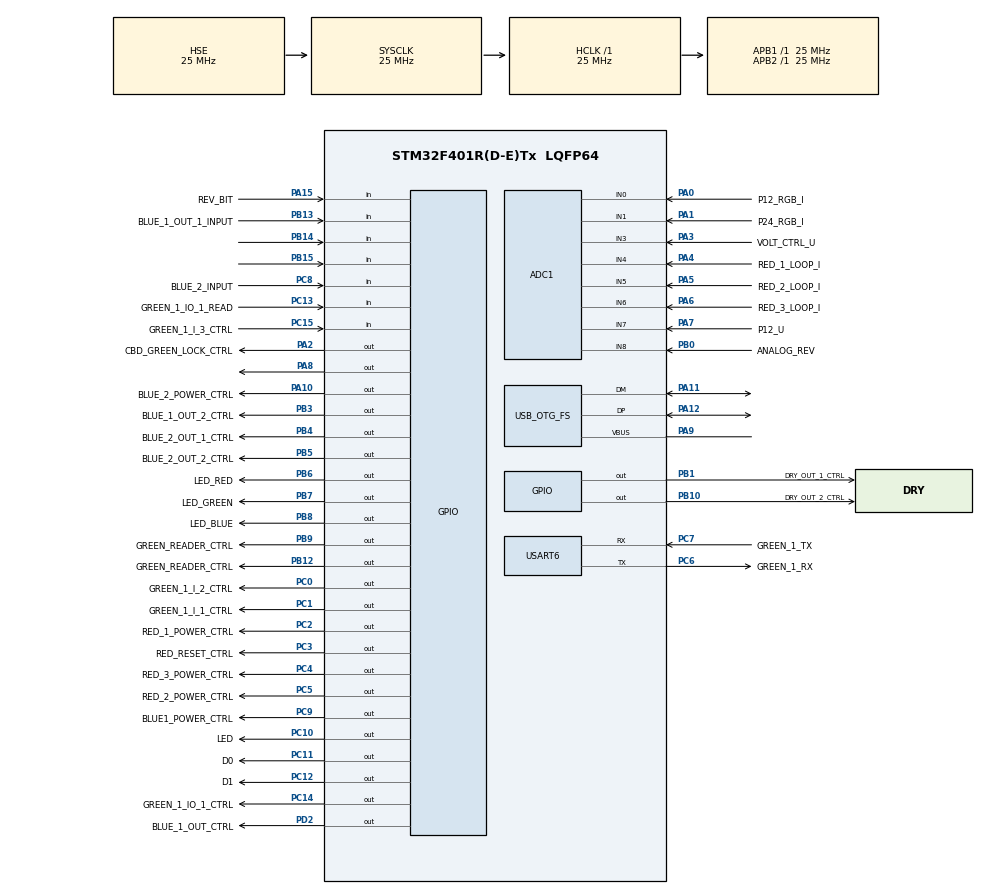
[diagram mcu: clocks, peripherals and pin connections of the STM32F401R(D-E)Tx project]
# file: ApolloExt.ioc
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ADC1.Channel-0\#ChannelRegularConversion=ADC_CHANNEL_0
ADC1.Channel-1\#ChannelRegularConversion=ADC_CHANNEL_1
ADC1.Channel-2\#ChannelRegularConversion=ADC_CHANNEL_3
ADC1.Channel-3\#ChannelRegularConversion=ADC_CHANNEL_4
ADC1.Channel-4\#ChannelRegularConversion=ADC_CHANNEL_5
ADC1.Channel-5\#ChannelRegularConversion=ADC_CHANNEL_6
ADC1.Channel-6\#ChannelRegularConversion=ADC_CHANNEL_7
ADC1.Channel-7\#ChannelRegularConversion=ADC_CHANNEL_8
ADC1.ClockPrescaler=ADC_CLOCK_SYNC_PCLK_DIV4
ADC1.ContinuousConvMode=DISABLE
ADC1.DMAContinuousRequests=ENABLE
ADC1.EOCSelection=ADC_EOC_SEQ_CONV
ADC1.NbrOfConversion=8
ADC1.NbrOfConversionFlag=1
ADC1.Rank-0\#ChannelRegularConversion=1
ADC1.Rank-1\#ChannelRegularConversion=2
ADC1.Rank-2\#ChannelRegularConversion=3
ADC1.Rank-3\#ChannelRegularConversion=4
ADC1.Rank-4\#ChannelRegularConversion=5
ADC1.Rank-5\#ChannelRegularConversion=6
ADC1.Rank-6\#ChannelRegularConversion=7
ADC1.Rank-7\#ChannelRegularConversion=8
ADC1.SamplingTime-0\#ChannelRegularConversion=ADC_SAMPLETIME_56CYCLES
ADC1.SamplingTime-1\#ChannelRegularConversion=ADC_SAMPLETIME_56CYCLES
ADC1.SamplingTime-2\#ChannelRegularConversion=ADC_SAMPLETIME_56CYCLES
ADC1.SamplingTime-3\#ChannelRegularConversion=ADC_SAMPLETIME_56CYCLES
ADC1.SamplingTime-4\#ChannelRegularConversion=ADC_SAMPLETIME_56CYCLES
ADC1.SamplingTime-5\#ChannelRegularConversion=ADC_SAMPLETIME_56CYCLES
ADC1.SamplingTime-6\#ChannelRegularConversion=ADC_SAMPLETIME_56CYCLES
ADC1.SamplingTime-7\#ChannelRegularConversion=ADC_SAMPLETIME_56CYCLES
ADC1.ScanConvMode=ENABLE
ADC1.master=1
Dma.ADC1.0.Direction=DMA_PERIPH_TO_MEMORY
Dma.ADC1.0.FIFOMode=DMA_FIFOMODE_DISABLE
Dma.ADC1.0.Instance=DMA2_Stream0
Dma.ADC1.0.MemDataAlignment=DMA_MDATAALIGN_HALFWORD
Dma.ADC1.0.MemInc=DMA_MINC_ENABLE
Dma.ADC1.0.Mode=DMA_CIRCULAR
Dma.ADC1.0.PeriphDataAlignment=DMA_PDATAALIGN_HALFWORD
Dma.ADC1.0.PeriphInc=DMA_PINC_DISABLE
Dma.ADC1.0.Priority=DMA_PRIORITY_LOW
Dma.Request0=ADC1
Mcu.Family=STM32F4
Mcu.Name=STM32F401R(D-E)Tx
Mcu.Package=LQFP64
NVIC.ADC_IRQn=true\:0\:0\:false\:false\:true\:true\:true\:true
NVIC.DMA2_Stream0_IRQn=true\:0\:0\:false\:false\:true\:false\:true\:true
NVIC.PriorityGroup=NVIC_PRIORITYGROUP_4
NVIC.TIM3_IRQn=true\:1\:0\:true\:false\:true\:true\:true\:true
NVIC.USART6_IRQn=true\:2\:0\:true\:false\:true\:true\:true\:true
PA0-WKUP.GPIO_Label=P12_RGB_I
PA0-WKUP.Signal=ADCx_IN0
PA1.GPIO_Label=P24_RGB_I
PA1.Signal=ADCx_IN1
PA10.GPIO_Label=BLUE_2_POWER_CTRL
PA10.Signal=GPIO_Output
PA11.Mode=Device_Only
PA11.Signal=USB_OTG_FS_DM
PA12.Mode=Device_Only
PA12.Signal=USB_OTG_FS_DP
PA13.Signal=SYS_JTMS-SWDIO
PA14.Signal=SYS_JTCK-SWCLK
PA15.GPIO_Label=REV_BIT
PA15.Signal=GPIO_Input
PA2.GPIO_Label=CBD_GREEN_LOCK_CTRL
PA2.Signal=GPIO_Output
PA3.GPIO_Label=VOLT_CTRL_U
PA3.Signal=ADCx_IN3
PA4.GPIO_Label=RED_1_LOOP_I
PA4.Signal=ADCx_IN4
PA5.GPIO_Label=RED_2_LOOP_I
PA5.Signal=ADCx_IN5
PA6.GPIO_Label=RED_3_LOOP_I
PA6.Signal=ADCx_IN6
PA7.GPIO_Label=P12_U
PA7.Signal=ADCx_IN7
PA8.Signal=GPIO_Output
PA9.Mode=Activate_VBUS
PA9.Signal=USB_OTG_FS_VBUS
PB0.GPIO_Label=ANALOG_REV
PB0.Signal=ADCx_IN8
PB1.GPIO_Label=DRY_OUT_1_CTRL
PB1.Signal=GPIO_Output
PB10.GPIO_Label=DRY_OUT_2_CTRL
PB10.Signal=GPIO_Output
PB12.GPIO_Label=GREEN_READER_CTRL
PB12.Signal=GPIO_Output
PB13.GPIO_Label=BLUE_1_OUT_1_INPUT
PB13.Signal=GPIO_Input
PB14.Signal=GPIO_Input
PB15.Signal=GPIO_Input
PB3.GPIO_Label=BLUE_1_OUT_2_CTRL
PB3.Signal=GPIO_Output
PB4.GPIO_Label=BLUE_2_OUT_1_CTRL
PB4.Signal=GPIO_Output
PB5.GPIO_Label=BLUE_2_OUT_2_CTRL
PB5.Signal=GPIO_Output
PB6.GPIO_Label=LED_RED
PB6.Signal=GPIO_Output
PB7.GPIO_Label=LED_GREEN
PB7.Signal=GPIO_Output
PB8.GPIO_Label=LED_BLUE
PB8.Signal=GPIO_Output
PB9.GPIO_Label=GREEN_READER_CTRL
PB9.Signal=GPIO_Output
PC0.GPIO_Label=GREEN_1_I_2_CTRL
PC0.Signal=GPIO_Output
PC1.GPIO_Label=GREEN_1_I_1_CTRL
PC1.Signal=GPIO_Output
PC10.GPIO_Label=LED
PC10.Signal=GPIO_Output
PC11.GPIO_Label=D0
PC11.Signal=GPIO_Output
PC12.GPIO_Label=D1
PC12.Signal=GPIO_Output
PC13-ANTI_TAMP.GPIO_Label=GREEN_1_IO_1_READ
PC13-ANTI_TAMP.Signal=GPIO_Input
PC14-OSC32_IN.GPIO_Label=GREEN_1_IO_1_CTRL
PC14-OSC32_IN.Signal=GPIO_Output
PC15-OSC32_OUT.GPIO_Label=GREEN_1_I_3_CTRL
PC15-OSC32_OUT.Signal=GPIO_Input
PC2.GPIO_Label=RED_1_POWER_CTRL
PC2.Signal=GPIO_Output
PC3.GPIO_Label=RED_RESET_CTRL
PC3.Signal=GPIO_Output
PC4.GPIO_Label=RED_3_POWER_CTRL
PC4.Signal=GPIO_Output
PC5.GPIO_Label=RED_2_POWER_CTRL
PC5.Signal=GPIO_Output
PC6.GPIO_Label=GREEN_1_RX
PC6.Mode=Asynchronous
PC6.Signal=USART6_TX
PC7.GPIO_Label=GREEN_1_TX
PC7.Mode=Asynchronous
PC7.Signal=USART6_RX
PC8.GPIO_Label=BLUE_2_INPUT
PC8.Signal=GPIO_Input
PC9.GPIO_Label=BLUE1_POWER_CTRL
PC9.Signal=GPIO_Output
PD2.GPIO_Label=BLUE_1_OUT_CTRL
PD2.Signal=GPIO_Output
PH0\ -\ OSC_IN.Mode=HSE-External-Oscillator
PH0\ -\ OSC_IN.Signal=RCC_OSC_IN
PH1\ -\ OSC_OUT.Mode=HSE-External-Oscillator
PH1\ -\ OSC_OUT.Signal=RCC_OSC_OUT
ProjectManager.HeapSize=0x200
ProjectManager.StackSize=0x400
ProjectManager.TargetToolchain=STM32CubeIDE
RCC.48MHZClocksFreq_Value=48000000
RCC.AHBFreq_Value=25000000
RCC.APB1Freq_Value=25000000
RCC.APB1TimFreq_Value=25000000
RCC.APB2Freq_Value=25000000
RCC.APB2TimFreq_Value=25000000
RCC.CortexFreq_Value=25000000
RCC.HCLKFreq_Value=25000000
RCC.HSE_VALUE=25000000
RCC.HSI_VALUE=16000000
RCC.LSE_VALUE=32768
RCC.PLLM=15
RCC.PLLN=144
RCC.PLLQ=5
RCC.SYSCLKFreq_VALUE=25000000
RCC.SYSCLKSource=RCC_SYSCLKSOURCE_HSE
RCC.VCOOutputFreq_Value=240000000
SH.ADCx_IN0.0=ADC1_IN0,IN0
SH.ADCx_IN1.0=ADC1_IN1,IN1
SH.ADCx_IN3.0=ADC1_IN3,IN3
SH.ADCx_IN4.0=ADC1_IN4,IN4
SH.ADCx_IN5.0=ADC1_IN5,IN5
SH.ADCx_IN6.0=ADC1_IN6,IN6
SH.ADCx_IN7.0=ADC1_IN7,IN7
SH.ADCx_IN8.0=ADC1_IN8,IN8
TIM3.AutoReloadPreload=TIM_AUTORELOAD_PRELOAD_ENABLE
TIM3.Period=1000
TIM3.Prescaler=24999
USART6.VirtualMode=VM_ASYNC
USB_OTG_FS.VirtualMode=Device_Only
VP_TIM3_VS_ClockSourceINT.Mode=Internal
board=custom

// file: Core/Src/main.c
/* USER CODE BEGIN Header */
/**
  ******************************************************************************
  * @file           : main.c
  * @brief          : Main program body
  ******************************************************************************
  * @attention
  *
  * Copyright (c) 2023 STMicroelectronics.
  * All rights reserved.
  *
  * This software is licensed under terms that can be found in the LICENSE file
  * in the root directory of this software component.
  * If no LICENSE file comes with this software, it is provided AS-IS.
  *
  ******************************************************************************
  */
/* USER CODE END Header */
#include "main.h"

/* USER CODE BEGIN Includes */
#include "Red.h"
#include "Green.h"
#include "Blue.h"
/* USER CODE END Includes */

/* USER CODE BEGIN PTD */

#define ADC_CHANNELS_NO 6
#define ADC_ARG_FROM_5 5

/* USER CODE END PTD */

/* USER CODE BEGIN PD */
#define MAX_ADC_DATA 8
/* USER CODE END PD */

 ADC_HandleTypeDef hadc1;
DMA_HandleTypeDef hdma_adc1;

TIM_HandleTypeDef htim3;

UART_HandleTypeDef huart6;

PCD_HandleTypeDef hpcd_USB_OTG_FS;

/* USER CODE BEGIN PV */

global_varible_t global;
volatile uint8_t global_cnt = 0;
volatile uint8_t adc_mem = 0;

uint16_t ADC_Data_table[8];

/* USER CODE END PV */

void SystemClock_Config(void);
static void MX_GPIO_Init(void);
static void MX_ADC1_Init(void);
static void MX_USART6_UART_Init(void);
static void MX_DMA_Init(void);
static void MX_TIM3_Init(void);
static void MX_USB_OTG_FS_PCD_Init(void);
/* USER CODE BEGIN PFP */

void HAL_ADC_ConvCpltCallback(ADC_HandleTypeDef* hadc) {

}

/* USER CODE END PFP */

/* USER CODE BEGIN 0 */
void rgb_let_toggle()
{
	if(global_cnt  < TIME_MAX_STATES/3 )
	{
		LED_BLUE_GPIO_Port->ODR ^= LED_BLUE_Pin;
		LED_RED_GPIO_Port->ODR &= ~LED_RED_Pin;
		LED_GREEN_GPIO_Port->ODR &= ~LED_GREEN_Pin;

	}
	else if(global_cnt  < 2*TIME_MAX_STATES/3 )
	{
		LED_BLUE_GPIO_Port->ODR &= ~LED_BLUE_Pin;
		LED_RED_GPIO_Port->ODR ^= LED_RED_Pin;
		LED_GREEN_GPIO_Port->ODR &= ~LED_GREEN_Pin;
	}
	else if(global_cnt  > 2*TIME_MAX_STATES/3 )
	{
		LED_BLUE_GPIO_Port->ODR &= ~LED_BLUE_Pin;
		LED_RED_GPIO_Port->ODR &= ~LED_RED_Pin;
		LED_GREEN_GPIO_Port->ODR ^= LED_GREEN_Pin;
	}
}

void ADC_Enable(void)
{
	ADC1->CR2 |= ADC_CR2_ADON;

	uint32_t delay= 10000;
	while(delay--);
}

void ADC_start(void)
{
	ADC1->SR = 0;
	ADC1->CR2 |= ADC_CR2_SWSTART;
}

void DMA_ADC_init(void)
{
//	Enable clocks
	RCC->APB2ENR |= (1 << 8);  //Enable ADC1
	RCC->AHB1ENR |= (1 << 0);  //Enable GPIO

// Set prescaler

	ADC->CCR |= (1 << 16); //PLCK devide by 4

// Set scan mode
	ADC1->CR1 |= ADC_CR1_SCAN; // Enable scan mode
	ADC1->CR1 &= ~(1 << 24 ) ; //
	ADC1->CR1 &= ~(1 << 25 ) ; // Set resolution for 12bits

// Set Continues conversation EOC, and Data Aligment

	//ADC1->CR2 |= ADC_CR2_CONT;	// contiunes conversion mode
	ADC1->CR2 |= ADC_CR2_EOCS; //  EOC after each conversion
	ADC1->CR2 &= ~(1 << 11); // Data Aligment Right

//Scannig order
	ADC1->SQR3 = 0;
	ADC1->SQR2 = 0;
	ADC1->SQR3 |= (0 << 0); 	// channel 0 1st
	ADC1->SQR3 |= (1 << 5); 	// channel 1 2th
	ADC1->SQR3 |= (3 << 10); 	// channel 3 3th
	ADC1->SQR3 |= (4 << 15); 	// channel 4 4th
	ADC1->SQR3 |= (5 << 20); 	// channel 5 5th
	ADC1->SQR3 |= (6 << 25); 	// channel 6 6th
	ADC1->SQR2 |= (7 << 0); 	// channel 7 7th
	ADC1->SQR2 |= (8 << 5); 	// channel 8 8th

	// Sum = 7

//Set sapling time for channels
	ADC1->SMPR2 =0;
	ADC1->SMPR2 |= (4 << 0 );	//1
	ADC1->SMPR2 |= (4 << 3 ); 	//2
	ADC1->SMPR2 |= (4 << 6 );	//3
	ADC1->SMPR2 |= (4 << 9 );	//4
	ADC1->SMPR2 |= (4 << 12 );	//5
	ADC1->SMPR2 |= (4 << 15 );	//6
	ADC1->SMPR2 |= (4 << 18 );	//7
	ADC1->SMPR2 |= (4 << 21 );	//8

// Set the regular channels sequence lenth
	 ADC1->SQR1 |= (7 << 20); //7 channels for convertion

// Set the respective GPIO pins int teh analog mode
	 GPIOA->MODER |= (3 << (2*0) );	//0 - 1
	 GPIOA->MODER |= (3 << (2*1) );	//1 - 2
	 GPIOA->MODER |= (3 << (2*3) );	//3 - 3
	 GPIOA->MODER |= (3 << (2*4) );	//4 - 4
	 GPIOA->MODER |= (3 << (2*5) );	//5 - 5
	 GPIOA->MODER |= (3 << (2*6) );	//6 - 6
	 GPIOA->MODER |= (3 << (2*7) );	//7 - 7
	 GPIOB->MODER |= (3 << (2*0) );	//7 - 7

// Enable ADC for DMA

	 ADC1->CR2 |= ADC_CR2_DMA; // Enable DMA mode
	 ADC1->CR2 &= ~ADC_CR2_CONT; // Enable Contounes Request

	 ADC_Enable();

// Enable DMA Clock
	 RCC->AHB1ENR |= (1 << 22 ); // Enable RCC for DMA

// DMA channel 2 stream 0 configuration
	 DMA2_Stream0->CR &= ~DMA_SxCR_EN; // Disable DMA for configuration

// memory data size
	 DMA2_Stream0->CR &= ~(1 << 14);
	 DMA2_Stream0->CR |= (1 << 13); // half-word 16bit

// perith  data size
	 DMA2_Stream0->CR &= ~(1 << 12);
	 DMA2_Stream0->CR |= (1 << 11); // half-word 16bit

// memory increment mode
	 DMA2_Stream0->CR |= DMA_SxCR_MINC; // Enable memory increment mode

// perith increment mode
	 DMA2_Stream0->CR &= ~DMA_SxCR_PINC; // Disable peripherial increment mode

// Data transfer direction
	 DMA2_Stream0->CR &= ~(1 << 7); // Peripherial to memory
	 DMA2_Stream0->CR &= ~(1 << 6); // Peripherial to memory

// DMA flow control
	 DMA2_Stream0->CR &= ~DMA_SxCR_PFCTRL; // DMA flow control enable

//	Circular mode
	 DMA2_Stream0->CR |= DMA_SxCR_CIRC; // Circular mode enabled

// Channel set
	 DMA2_Stream0->CR &= ~(1 << 25);
	 DMA2_Stream0->CR &= ~(1 << 26);
	 DMA2_Stream0->CR &= ~(1 << 27);
//
	 DMA2_Stream0->CR &= ~(1 << 19);
	 DMA2_Stream0->CR &= ~(1 << 18);

// Number of data to transfer
	 DMA2_Stream0->NDTR = 8;
// Peripherial Address set
	 DMA2_Stream0->PAR =(uint32_t *) &ADC1->DR;

// Memory address set
	 DMA2_Stream0->M0AR =(uint32_t *) ADC_Data_table;

// Set interrupt
	 DMA2_Stream0->CR |= DMA_SxCR_TCIE;

	 HAL_NVIC_SetPriority(DMA2_Stream0_IRQn, 0, 0);
	 HAL_NVIC_EnableIRQ(DMA2_Stream0_IRQn);

// Enable DMA
	 DMA2_Stream0->CR |= DMA_SxCR_EN;

}

void adc_measure_handler(const uint8_t counter_value)
{
	static uint8_t temp_bit_mem;
	if(temp_bit_mem == counter_value) return;
	temp_bit_mem = counter_value;

	ADC_start();

}

/* USER CODE END 0 */

int main(void)
{

  /* MCU Configuration--------------------------------------------------------*/

  /* Reset of all peripherals, Initializes the Flash interface and the Systick. */
  HAL_Init();

  /* Configure the system clock */
  SystemClock_Config();

  /* Initialize all configured peripherals */
  MX_GPIO_Init();
  MX_ADC1_Init();
  MX_USART6_UART_Init();
  MX_DMA_Init();
  MX_TIM3_Init();
  MX_USB_OTG_FS_PCD_Init();
  /* USER CODE BEGIN 2 */
  DMA_ADC_init();

  //HAL_ADC_Start_DMA(&hadc1, (uint32_t*)ADC_Data_table, MAX_ADC_DATA);
 //
  /* USER CODE END 2 */

  /* Infinite loop */
  /* USER CODE BEGIN WHILE */

  //HAL_ADC_Start(&hadc1);
  while (1)
  {
	  adc_measure_handler(global_cnt);

    /* USER CODE END WHILE */

  }
}

void SystemClock_Config(void)
{
  RCC_OscInitTypeDef RCC_OscInitStruct = {0};
  RCC_ClkInitTypeDef RCC_ClkInitStruct = {0};

  /** Configure the main internal regulator output voltage
  */
  __HAL_RCC_PWR_CLK_ENABLE();
  __HAL_PWR_VOLTAGESCALING_CONFIG(PWR_REGULATOR_VOLTAGE_SCALE2);

  /** Initializes the RCC Oscillators according to the specified parameters
  * in the RCC_OscInitTypeDef structure.
  */
  RCC_OscInitStruct.OscillatorType = RCC_OSCILLATORTYPE_HSE;
  RCC_OscInitStruct.HSEState = RCC_HSE_ON;
  RCC_OscInitStruct.PLL.PLLState = RCC_PLL_ON;
  RCC_OscInitStruct.PLL.PLLSource = RCC_PLLSOURCE_HSE;
  RCC_OscInitStruct.PLL.PLLM = 15;
  RCC_OscInitStruct.PLL.PLLN = 144;
  RCC_OscInitStruct.PLL.PLLP = RCC_PLLP_DIV2;
  RCC_OscInitStruct.PLL.PLLQ = 5;
  if (HAL_RCC_OscConfig(&RCC_OscInitStruct) != HAL_OK)
  {
    Error_Handler();
  }

  /** Initializes the CPU, AHB and APB buses clocks
  */
  RCC_ClkInitStruct.ClockType = RCC_CLOCKTYPE_HCLK|RCC_CLOCKTYPE_SYSCLK
                              |RCC_CLOCKTYPE_PCLK1|RCC_CLOCKTYPE_PCLK2;
  RCC_ClkInitStruct.SYSCLKSource = RCC_SYSCLKSOURCE_HSE;
  RCC_ClkInitStruct.AHBCLKDivider = RCC_SYSCLK_DIV1;
  RCC_ClkInitStruct.APB1CLKDivider = RCC_HCLK_DIV1;
  RCC_ClkInitStruct.APB2CLKDivider = RCC_HCLK_DIV1;

  if (HAL_RCC_ClockConfig(&RCC_ClkInitStruct, FLASH_LATENCY_0) != HAL_OK)
  {
    Error_Handler();
  }
}

static void MX_ADC1_Init(void)
{

  ADC_ChannelConfTypeDef sConfig = {0};

  /** Configure the global features of the ADC (Clock, Resolution, Data Alignment and number of conversion)
  */
  hadc1.Instance = ADC1;
  hadc1.Init.ClockPrescaler = ADC_CLOCK_SYNC_PCLK_DIV4;
  hadc1.Init.Resolution = ADC_RESOLUTION_12B;
  hadc1.Init.ScanConvMode = ENABLE;
  hadc1.Init.ContinuousConvMode = DISABLE;
  hadc1.Init.DiscontinuousConvMode = DISABLE;
  hadc1.Init.ExternalTrigConvEdge = ADC_EXTERNALTRIGCONVEDGE_NONE;
  hadc1.Init.ExternalTrigConv = ADC_SOFTWARE_START;
  hadc1.Init.DataAlign = ADC_DATAALIGN_RIGHT;
  hadc1.Init.NbrOfConversion = 8;
  hadc1.Init.DMAContinuousRequests = ENABLE;
  hadc1.Init.EOCSelection = ADC_EOC_SEQ_CONV;
  if (HAL_ADC_Init(&hadc1) != HAL_OK)
  {
    Error_Handler();
  }

  /** Configure for the selected ADC regular channel its corresponding rank in the sequencer and its sample time.
  */
  sConfig.Channel = ADC_CHANNEL_0;
  sConfig.Rank = 1;
  sConfig.SamplingTime = ADC_SAMPLETIME_56CYCLES;
  if (HAL_ADC_ConfigChannel(&hadc1, &sConfig) != HAL_OK)
  {
    Error_Handler();
  }

  /** Configure for the selected ADC regular channel its corresponding rank in the sequencer and its sample time.
  */
  sConfig.Channel = ADC_CHANNEL_1;
  sConfig.Rank = 2;
  if (HAL_ADC_ConfigChannel(&hadc1, &sConfig) != HAL_OK)
  {
    Error_Handler();
  }

  /** Configure for the selected ADC regular channel its corresponding rank in the sequencer and its sample time.
  */
  sConfig.Channel = ADC_CHANNEL_3;
  sConfig.Rank = 3;
  if (HAL_ADC_ConfigChannel(&hadc1, &sConfig) != HAL_OK)
  {
    Error_Handler();
  }

  /** Configure for the selected ADC regular channel its corresponding rank in the sequencer and its sample time.
  */
  sConfig.Channel = ADC_CHANNEL_4;
  sConfig.Rank = 4;
  if (HAL_ADC_ConfigChannel(&hadc1, &sConfig) != HAL_OK)
  {
    Error_Handler();
  }

  /** Configure for the selected ADC regular channel its corresponding rank in the sequencer and its sample time.
  */
  sConfig.Channel = ADC_CHANNEL_5;
  sConfig.Rank = 5;
  if (HAL_ADC_ConfigChannel(&hadc1, &sConfig) != HAL_OK)
  {
    Error_Handler();
  }

  /** Configure for the selected ADC regular channel its corresponding rank in the sequencer and its sample time.
  */
  sConfig.Channel = ADC_CHANNEL_6;
  sConfig.Rank = 6;
  if (HAL_ADC_ConfigChannel(&hadc1, &sConfig) != HAL_OK)
  {
    Error_Handler();
  }

  /** Configure for the selected ADC regular channel its corresponding rank in the sequencer and its sample time.
  */
  sConfig.Channel = ADC_CHANNEL_7;
  sConfig.Rank = 7;
  if (HAL_ADC_ConfigChannel(&hadc1, &sConfig) != HAL_OK)
  {
    Error_Handler();
  }

  /** Configure for the selected ADC regular channel its corresponding rank in the sequencer and its sample time.
  */
  sConfig.Channel = ADC_CHANNEL_8;
  sConfig.Rank = 8;
  if (HAL_ADC_ConfigChannel(&hadc1, &sConfig) != HAL_OK)
  {
    Error_Handler();
  }

}

static void MX_TIM3_Init(void)
{

  TIM_ClockConfigTypeDef sClockSourceConfig = {0};
  TIM_MasterConfigTypeDef sMasterConfig = {0};

  htim3.Instance = TIM3;
  htim3.Init.Prescaler = 24999;
  htim3.Init.CounterMode = TIM_COUNTERMODE_UP;
  htim3.Init.Period = 1000;
  htim3.Init.ClockDivision = TIM_CLOCKDIVISION_DIV1;
  htim3.Init.AutoReloadPreload = TIM_AUTORELOAD_PRELOAD_ENABLE;
  if (HAL_TIM_Base_Init(&htim3) != HAL_OK)
  {
    Error_Handler();
  }
  sClockSourceConfig.ClockSource = TIM_CLOCKSOURCE_INTERNAL;
  if (HAL_TIM_ConfigClockSource(&htim3, &sClockSourceConfig) != HAL_OK)
  {
    Error_Handler();
  }
  sMasterConfig.MasterOutputTrigger = TIM_TRGO_RESET;
  sMasterConfig.MasterSlaveMode = TIM_MASTERSLAVEMODE_DISABLE;
  if (HAL_TIMEx_MasterConfigSynchronization(&htim3, &sMasterConfig) != HAL_OK)
  {
    Error_Handler();
  }
  /* USER CODE BEGIN TIM3_Init 2 */
  TIM3->DIER |= TIM_DIER_UIE;
  TIM3->CR1 |= TIM_CR1_CEN;
  /* USER CODE END TIM3_Init 2 */

}

static void MX_USART6_UART_Init(void)
{

  huart6.Instance = USART6;
  huart6.Init.BaudRate = 115200;
  huart6.Init.WordLength = UART_WORDLENGTH_8B;
  huart6.Init.StopBits = UART_STOPBITS_1;
  huart6.Init.Parity = UART_PARITY_NONE;
  huart6.Init.Mode = UART_MODE_TX_RX;
  huart6.Init.HwFlowCtl = UART_HWCONTROL_NONE;
  huart6.Init.OverSampling = UART_OVERSAMPLING_16;
  if (HAL_UART_Init(&huart6) != HAL_OK)
  {
    Error_Handler();
  }

}

static void MX_USB_OTG_FS_PCD_Init(void)
{

  hpcd_USB_OTG_FS.Instance = USB_OTG_FS;
  hpcd_USB_OTG_FS.Init.dev_endpoints = 4;
  hpcd_USB_OTG_FS.Init.speed = PCD_SPEED_FULL;
  hpcd_USB_OTG_FS.Init.dma_enable = DISABLE;
  hpcd_USB_OTG_FS.Init.phy_itface = PCD_PHY_EMBEDDED;
  hpcd_USB_OTG_FS.Init.Sof_enable = DISABLE;
  hpcd_USB_OTG_FS.Init.low_power_enable = DISABLE;
  hpcd_USB_OTG_FS.Init.lpm_enable = DISABLE;
  hpcd_USB_OTG_FS.Init.vbus_sensing_enable = ENABLE;
  hpcd_USB_OTG_FS.Init.use_dedicated_ep1 = DISABLE;
  if (HAL_PCD_Init(&hpcd_USB_OTG_FS) != HAL_OK)
  {
    Error_Handler();
  }

}

static void MX_DMA_Init(void)
{

  /* DMA controller clock enable */
  __HAL_RCC_DMA2_CLK_ENABLE();

  /* DMA interrupt init */
  /* DMA2_Stream0_IRQn interrupt configuration */
  HAL_NVIC_SetPriority(DMA2_Stream0_IRQn, 0, 0);
  HAL_NVIC_EnableIRQ(DMA2_Stream0_IRQn);

}

static void MX_GPIO_Init(void)
{
  GPIO_InitTypeDef GPIO_InitStruct = {0};

  /* GPIO Ports Clock Enable */
  __HAL_RCC_GPIOC_CLK_ENABLE();
  __HAL_RCC_GPIOH_CLK_ENABLE();
  __HAL_RCC_GPIOA_CLK_ENABLE();
  __HAL_RCC_GPIOB_CLK_ENABLE();
  __HAL_RCC_GPIOD_CLK_ENABLE();

  /*Configure GPIO pin Output Level */
  HAL_GPIO_WritePin(GPIOC, GREEN_1_IO_1_CTRL_Pin|GREEN_1_I_2_CTRL_Pin|GREEN_1_I_1_CTRL_Pin|RED_1_POWER_CTRL_Pin
                          |RED_RESET_CTRL_Pin|RED_3_POWER_CTRL_Pin|RED_2_POWER_CTRL_Pin|BLUE1_POWER_CTRL_Pin
                          |LED_Pin|D0_Pin|D1_Pin, GPIO_PIN_RESET);

  /*Configure GPIO pin Output Level */
  HAL_GPIO_WritePin(GPIOA, CBD_GREEN_LOCK_CTRL_Pin|GPIO_PIN_8|BLUE_2_POWER_CTRL_Pin, GPIO_PIN_RESET);

  /*Configure GPIO pin Output Level */
  HAL_GPIO_WritePin(GPIOB, DRY_OUT_1_CTRL_Pin|DRY_OUT_2_CTRL_Pin|GREEN_READER_CTRL_Pin|BLUE_1_OUT_2_CTRL_Pin
                          |BLUE_2_OUT_1_CTRL_Pin|BLUE_2_OUT_2_CTRL_Pin|LED_RED_Pin|LED_GREEN_Pin
                          |LED_BLUE_Pin|GREEN_READER_CTRLB9_Pin, GPIO_PIN_RESET);

  /*Configure GPIO pin Output Level */
  HAL_GPIO_WritePin(BLUE_1_OUT_CTRL_GPIO_Port, BLUE_1_OUT_CTRL_Pin, GPIO_PIN_RESET);

  /*Configure GPIO pins : GREEN_1_IO_1_READ_Pin GREEN_1_I_3_CTRL_Pin BLUE_2_INPUT_Pin */
  GPIO_InitStruct.Pin = GREEN_1_IO_1_READ_Pin|GREEN_1_I_3_CTRL_Pin|BLUE_2_INPUT_Pin;
  GPIO_InitStruct.Mode = GPIO_MODE_INPUT;
  GPIO_InitStruct.Pull = GPIO_NOPULL;
  HAL_GPIO_Init(GPIOC, &GPIO_InitStruct);

  /*Configure GPIO pins : GREEN_1_IO_1_CTRL_Pin GREEN_1_I_2_CTRL_Pin GREEN_1_I_1_CTRL_Pin RED_1_POWER_CTRL_Pin
                           RED_RESET_CTRL_Pin RED_3_POWER_CTRL_Pin RED_2_POWER_CTRL_Pin BLUE1_POWER_CTRL_Pin
                           LED_Pin D0_Pin D1_Pin */
  GPIO_InitStruct.Pin = GREEN_1_IO_1_CTRL_Pin|GREEN_1_I_2_CTRL_Pin|GREEN_1_I_1_CTRL_Pin|RED_1_POWER_CTRL_Pin
                          |RED_RESET_CTRL_Pin|RED_3_POWER_CTRL_Pin|RED_2_POWER_CTRL_Pin|BLUE1_POWER_CTRL_Pin
                          |LED_Pin|D0_Pin|D1_Pin;
  GPIO_InitStruct.Mode = GPIO_MODE_OUTPUT_PP;
  GPIO_InitStruct.Pull = GPIO_NOPULL;
  GPIO_InitStruct.Speed = GPIO_SPEED_FREQ_LOW;
  HAL_GPIO_Init(GPIOC, &GPIO_InitStruct);

  /*Configure GPIO pins : CBD_GREEN_LOCK_CTRL_Pin PA8 BLUE_2_POWER_CTRL_Pin */
  GPIO_InitStruct.Pin = CBD_GREEN_LOCK_CTRL_Pin|GPIO_PIN_8|BLUE_2_POWER_CTRL_Pin;
  GPIO_InitStruct.Mode = GPIO_MODE_OUTPUT_PP;
  GPIO_InitStruct.Pull = GPIO_NOPULL;
  GPIO_InitStruct.Speed = GPIO_SPEED_FREQ_LOW;
  HAL_GPIO_Init(GPIOA, &GPIO_InitStruct);

  /*Configure GPIO pins : DRY_OUT_1_CTRL_Pin DRY_OUT_2_CTRL_Pin GREEN_READER_CTRL_Pin BLUE_1_OUT_2_CTRL_Pin
                           BLUE_2_OUT_1_CTRL_Pin BLUE_2_OUT_2_CTRL_Pin LED_RED_Pin LED_GREEN_Pin
                           LED_BLUE_Pin GREEN_READER_CTRLB9_Pin */
  GPIO_InitStruct.Pin = DRY_OUT_1_CTRL_Pin|DRY_OUT_2_CTRL_Pin|GREEN_READER_CTRL_Pin|BLUE_1_OUT_2_CTRL_Pin
                          |BLUE_2_OUT_1_CTRL_Pin|BLUE_2_OUT_2_CTRL_Pin|LED_RED_Pin|LED_GREEN_Pin
                          |LED_BLUE_Pin|GREEN_READER_CTRLB9_Pin;
  GPIO_InitStruct.Mode = GPIO_MODE_OUTPUT_PP;
  GPIO_InitStruct.Pull = GPIO_NOPULL;
  GPIO_InitStruct.Speed = GPIO_SPEED_FREQ_LOW;
  HAL_GPIO_Init(GPIOB, &GPIO_InitStruct);

  /*Configure GPIO pins : BLUE_1_OUT_1_INPUT_Pin PB14 PB15 */
  GPIO_InitStruct.Pin = BLUE_1_OUT_1_INPUT_Pin|GPIO_PIN_14|GPIO_PIN_15;
  GPIO_InitStruct.Mode = GPIO_MODE_INPUT;
  GPIO_InitStruct.Pull = GPIO_NOPULL;
  HAL_GPIO_Init(GPIOB, &GPIO_InitStruct);

  /*Configure GPIO pin : REV_BIT_Pin */
  GPIO_InitStruct.Pin = REV_BIT_Pin;
  GPIO_InitStruct.Mode = GPIO_MODE_INPUT;
  GPIO_InitStruct.Pull = GPIO_NOPULL;
  HAL_GPIO_Init(REV_BIT_GPIO_Port, &GPIO_InitStruct);

  /*Configure GPIO pin : BLUE_1_OUT_CTRL_Pin */
  GPIO_InitStruct.Pin = BLUE_1_OUT_CTRL_Pin;
  GPIO_InitStruct.Mode = GPIO_MODE_OUTPUT_PP;
  GPIO_InitStruct.Pull = GPIO_NOPULL;
  GPIO_InitStruct.Speed = GPIO_SPEED_FREQ_LOW;
  HAL_GPIO_Init(BLUE_1_OUT_CTRL_GPIO_Port, &GPIO_InitStruct);

}

void Error_Handler(void)
{
  __disable_irq();
  while (1)
  {
  }
}
